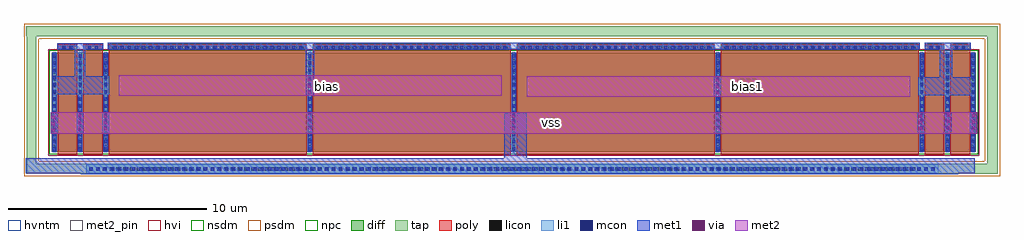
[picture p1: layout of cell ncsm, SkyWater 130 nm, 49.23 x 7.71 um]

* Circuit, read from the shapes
.subckt ncsm bias bias1 vss
XM1 vss vss vss vss sky130_fd_pr__nfet_g5v0d10v5 w=5 l=1 m=4
XM2 bias bias vss vss sky130_fd_pr__nfet_g5v0d10v5 w=5 l=10 m=2
XM3 bias1 bias vss vss sky130_fd_pr__nfet_g5v0d10v5 w=5 l=10 m=2
.ends

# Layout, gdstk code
from math import pi, radians
import gdstk
lib = gdstk.Library(unit=1e-6, precision=1e-09)
def R(c, l, rs):  # rectangles x0, y0, x1, y1
    for r in rs: c.add(gdstk.rectangle(r[:2], r[2:], *l))
def A(c, l, x, y, w, h, nx, ny, dx, dy):  # array of equal rectangles
    R(c, l, [(x+i*dx, y+j*dy, x+i*dx+w, y+j*dy+h) for i in range(nx) for j in range(ny)])
diff = (65, 20)
tap = (65, 44)
poly = (66, 20)
licon = (66, 44)
li1 = (67, 20)
mcon = (67, 44)
met1 = (68, 20)
via = (68, 44)
met2_pin = (69, 16)
met2 = (69, 20)
hvi = (75, 20)
nsdm = (93, 44)
psdm = (94, 20)
npc = (95, 20)
hvntm = (125, 20)

viam1m2_1u = lib.new_cell('viam1m2_1u')
R(viam1m2_1u, met1, [(-0.02,-0.04,0.33,0.94)])
A(viam1m2_1u, via, 0.075, 0.06, 0.15, 0.15, 1, 3, 0, 0.32)
R(viam1m2_1u, met2, [(-0.02,-0.04,0.33,0.94)])

sky130_fd_pr__nfet_g5v0d = lib.new_cell('sky130_fd_pr__nfet_g5v0d10v5_U8CHXQ')
R(sky130_fd_pr__nfet_g5v0d, diff, [(-1.435,-2.655,1.435,2.345)])
R(sky130_fd_pr__nfet_g5v0d, poly, [(-1.145,-2.785,-0.145,2.785), (0.145,-2.785,1.145,2.785)])
A(sky130_fd_pr__nfet_g5v0d, licon, -1.375, -2.45, 0.17, 0.17, 3, 14, 1.29, 0.34)
R(sky130_fd_pr__nfet_g5v0d, licon, [(-0.9,2.535,-0.73,2.705), (-0.56,2.535,-0.39,2.705), (0.39,2.535,0.56,2.705), (0.73,2.535,0.9,2.705)])
A(sky130_fd_pr__nfet_g5v0d, li1, -1.375, -2.675, 0.17, 5.04, 3, 1, 1.29, 0)
R(sky130_fd_pr__nfet_g5v0d, li1, [(-1.145,2.535,-0.145,2.705), (0.145,2.535,1.145,2.705)])
A(sky130_fd_pr__nfet_g5v0d, mcon, -1.375, -2.58, 0.17, 0.17, 3, 14, 1.29, 0.36)
R(sky130_fd_pr__nfet_g5v0d, mcon, [(-0.91,2.535,-0.74,2.705), (-0.55,2.535,-0.38,2.705), (0.38,2.535,0.55,2.705), (0.74,2.535,0.91,2.705)])
A(sky130_fd_pr__nfet_g5v0d, met1, -1.405, -2.655, 0.23, 5, 3, 1, 1.29, 0)
R(sky130_fd_pr__nfet_g5v0d, met1, [(-1.125,2.505,-0.165,2.735), (0.165,2.505,1.125,2.735)])
R(sky130_fd_pr__nfet_g5v0d, hvi, [(-1.62,-2.84,1.62,2.53)])
R(sky130_fd_pr__nfet_g5v0d, nsdm, [(-1.56,-2.78,1.56,2.47)])
R(sky130_fd_pr__nfet_g5v0d, npc, [(-1,2.435,-0.29,2.805), (0.29,2.435,1,2.805)])
R(sky130_fd_pr__nfet_g5v0d, hvntm, [(-1.62,-2.84,1.62,2.53)])

c_sky130_fd_pr__nfet_g5v0d = lib.new_cell('sky130_fd_pr__nfet_g5v0d10v5_J574A2')
R(c_sky130_fd_pr__nfet_g5v0d, diff, [(-20.725,-2.655,20.725,2.345)])
A(c_sky130_fd_pr__nfet_g5v0d, poly, -20.435, -2.785, 10, 5.57, 4, 1, 10.29, 0)
A(c_sky130_fd_pr__nfet_g5v0d, licon, -20.665, -2.45, 0.17, 0.17, 5, 14, 10.29, 0.34)
A(c_sky130_fd_pr__nfet_g5v0d, licon, -20.28, 2.535, 0.17, 0.17, 29, 1, 0.34, 0)
A(c_sky130_fd_pr__nfet_g5v0d, licon, -9.99, 2.535, 0.17, 0.17, 29, 1, 0.34, 0)
A(c_sky130_fd_pr__nfet_g5v0d, licon, 0.3, 2.535, 0.17, 0.17, 29, 1, 0.34, 0)
A(c_sky130_fd_pr__nfet_g5v0d, licon, 10.59, 2.535, 0.17, 0.17, 29, 1, 0.34, 0)
A(c_sky130_fd_pr__nfet_g5v0d, li1, -20.665, -2.675, 0.17, 5.04, 5, 1, 10.29, 0)
A(c_sky130_fd_pr__nfet_g5v0d, li1, -20.435, 2.535, 10, 0.17, 4, 1, 10.29, 0)
A(c_sky130_fd_pr__nfet_g5v0d, mcon, -20.665, -2.58, 0.17, 0.17, 5, 14, 10.29, 0.36)
A(c_sky130_fd_pr__nfet_g5v0d, mcon, -20.2, 2.535, 0.17, 0.17, 27, 1, 0.36, 0)
A(c_sky130_fd_pr__nfet_g5v0d, mcon, -9.91, 2.535, 0.17, 0.17, 27, 1, 0.36, 0)
A(c_sky130_fd_pr__nfet_g5v0d, mcon, 0.38, 2.535, 0.17, 0.17, 27, 1, 0.36, 0)
A(c_sky130_fd_pr__nfet_g5v0d, mcon, 10.67, 2.535, 0.17, 0.17, 27, 1, 0.36, 0)
A(c_sky130_fd_pr__nfet_g5v0d, met1, -20.695, -2.655, 0.23, 5, 5, 1, 10.29, 0)
A(c_sky130_fd_pr__nfet_g5v0d, met1, -20.415, 2.505, 9.96, 0.23, 4, 1, 10.29, 0)
R(c_sky130_fd_pr__nfet_g5v0d, hvi, [(-20.91,-2.84,20.91,2.53)])
R(c_sky130_fd_pr__nfet_g5v0d, nsdm, [(-20.85,-2.78,20.85,2.47)])
A(c_sky130_fd_pr__nfet_g5v0d, npc, -20.38, 2.435, 9.89, 0.37, 4, 1, 10.29, 0)
R(c_sky130_fd_pr__nfet_g5v0d, hvntm, [(-20.91,-2.84,20.91,2.53)])

ncsm = lib.new_cell('ncsm')
R(ncsm, tap, [(-2.86,-1,44.975,-0.98), (-4,-0.98,44.975,-0.49), (-4,-0.49,-2.11,-0.48), (44.465,-0.49,44.975,5.955), (-4,-0.48,-3.5,5.955), (-4.005,5.955,44.975,6.465)])
A(ncsm, licon, -0.49, -0.825, 0.17, 0.17, 122, 1, 0.34, 0)
R(ncsm, li1, [(-1,-0.97,41.975,-0.52)])
A(ncsm, mcon, -0.84, -0.83, 0.17, 0.17, 119, 1, 0.36, 0)
R(ncsm, met1, [(-1.27,-1.01,42.99,-0.97), (-4.03,-0.97,43.82,-0.21), (20.09,-0.21,21.23,2.1), (40.98,2.97,43.86,3.87), (10.07,2.99,10.52,5.3), (-2.71,3.02,0.17,3.92), (42.05,3.87,42.7,5.3), (-1.56,3.92,-1.03,5.29), (-2.45,5.29,-0.13,5.6), (0.09,5.3,41.05,5.61), (41.3,5.3,43.62,5.61)])
R(ncsm, met2_pin, [(22.25,1.4,22.69,1.84), (31.86,3.06,32.83,3.8), (10.89,3.19,11.33,3.63)])
R(ncsm, met2, [(-2.79,1.03,43.96,2.11), (21.24,2.89,40.57,3.92), (0.64,2.94,19.97,3.97)])
R(ncsm, psdm, [(-2.985,-1.125,45.1,-1.105), (-4.125,-1.105,45.1,-0.365), (-4.125,-0.365,-1.985,-0.355), (44.34,-0.365,45.1,5.83), (-4.125,-0.355,-3.375,5.83), (-4.13,5.83,45.1,6.59)])
ncsm.add(gdstk.Reference(viam1m2_1u, (20.4,1.14)))
ncsm.add(gdstk.Reference(viam1m2_1u, (-0.17,1.14)))
ncsm.add(gdstk.Reference(viam1m2_1u, (-2.77,1.08)))
ncsm.add(gdstk.Reference(viam1m2_1u, (10.11,2.98)))
ncsm.add(gdstk.Reference(viam1m2_1u, (-1.46,1.13)))
ncsm.add(gdstk.Reference(sky130_fd_pr__nfet_g5v0d, (-1.295,2.765), rotation=pi, x_reflection=True))
ncsm.add(gdstk.Reference(viam1m2_1u, (43.59,1.16)))
ncsm.add(gdstk.Reference(viam1m2_1u, (40.95,1.14)))
ncsm.add(gdstk.Reference(viam1m2_1u, (42.33,1.18)))
ncsm.add(gdstk.Reference(viam1m2_1u, (30.69,2.95)))
ncsm.add(gdstk.Reference(sky130_fd_pr__nfet_g5v0d, (42.445,2.765)))
ncsm.add(gdstk.Reference(c_sky130_fd_pr__nfet_g5v0d, (20.575,2.765)))
ncsm.add(gdstk.Label('bias', (11.11,3.41), layer=69, texttype=5))
ncsm.add(gdstk.Label('vss', (22.47,1.62), layer=69, texttype=5))
ncsm.add(gdstk.Label('bias1', (32.345,3.43), layer=69, texttype=5))

lib.write_gds('ncsm.gds')
